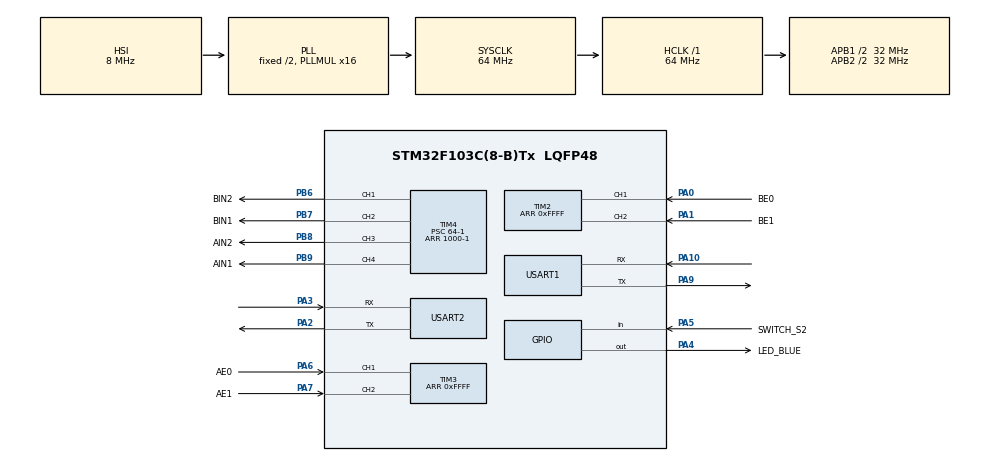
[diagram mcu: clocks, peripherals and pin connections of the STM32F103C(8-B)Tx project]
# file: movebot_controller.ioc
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Dma.Request0=USART2_RX
Dma.Request1=USART2_TX
Dma.USART2_RX.0.Direction=DMA_PERIPH_TO_MEMORY
Dma.USART2_RX.0.Instance=DMA1_Channel6
Dma.USART2_RX.0.MemDataAlignment=DMA_MDATAALIGN_BYTE
Dma.USART2_RX.0.MemInc=DMA_MINC_ENABLE
Dma.USART2_RX.0.Mode=DMA_NORMAL
Dma.USART2_RX.0.PeriphDataAlignment=DMA_PDATAALIGN_BYTE
Dma.USART2_RX.0.PeriphInc=DMA_PINC_DISABLE
Dma.USART2_RX.0.Priority=DMA_PRIORITY_LOW
Dma.USART2_TX.1.Direction=DMA_MEMORY_TO_PERIPH
Dma.USART2_TX.1.Instance=DMA1_Channel7
Dma.USART2_TX.1.MemDataAlignment=DMA_MDATAALIGN_BYTE
Dma.USART2_TX.1.MemInc=DMA_MINC_ENABLE
Dma.USART2_TX.1.Mode=DMA_NORMAL
Dma.USART2_TX.1.PeriphDataAlignment=DMA_PDATAALIGN_BYTE
Dma.USART2_TX.1.PeriphInc=DMA_PINC_DISABLE
Dma.USART2_TX.1.Priority=DMA_PRIORITY_LOW
FREERTOS.Tasks01=defaultTask,24,128,StartDefaultTask,Default,NULL,Dynamic,NULL,NULL
FREERTOS.configTOTAL_HEAP_SIZE=5120
Mcu.Family=STM32F1
Mcu.Name=STM32F103C(8-B)Tx
Mcu.Package=LQFP48
NVIC.DMA1_Channel6_IRQn=true\:5\:0\:false\:false\:true\:true\:false\:true
NVIC.DMA1_Channel7_IRQn=true\:5\:0\:false\:false\:true\:true\:false\:true
NVIC.PriorityGroup=NVIC_PRIORITYGROUP_4
NVIC.TIM1_UP_IRQn=true\:0\:0\:false\:false\:true\:false\:false\:true
NVIC.TimeBase=TIM1_UP_IRQn
NVIC.TimeBaseIP=TIM1
NVIC.USART2_IRQn=true\:5\:0\:false\:false\:true\:true\:true\:true
PA0-WKUP.GPIO_Label=BE0
PA0-WKUP.Signal=S_TIM2_CH1_ETR
PA1.GPIO_Label=BE1
PA1.Signal=S_TIM2_CH2
PA10.Mode=Asynchronous
PA10.Signal=USART1_RX
PA11.GPIO_Label=SERVO
PA11.Signal=S_TIM1_CH4
PA13.Mode=Serial_Wire
PA13.Signal=SYS_JTMS-SWDIO
PA14.Mode=Serial_Wire
PA14.Signal=SYS_JTCK-SWCLK
PA2.Mode=Asynchronous
PA2.Signal=USART2_TX
PA3.Mode=Asynchronous
PA3.Signal=USART2_RX
PA4.GPIO_Label=LED_BLUE
PA4.Signal=GPIO_Output
PA5.GPIO_Label=SWITCH_S2
PA5.GPIO_PuPd=GPIO_PULLUP
PA5.Signal=GPIO_Input
PA6.GPIO_Label=AE0
PA6.Signal=S_TIM3_CH1
PA7.GPIO_Label=AE1
PA7.Signal=S_TIM3_CH2
PA9.Mode=Asynchronous
PA9.Signal=USART1_TX
PB6.GPIO_Label=BIN2
PB6.Signal=S_TIM4_CH1
PB7.GPIO_Label=BIN1
PB7.Signal=S_TIM4_CH2
PB8.GPIO_Label=AIN2
PB8.Signal=S_TIM4_CH3
PB9.GPIO_Label=AIN1
PB9.Signal=S_TIM4_CH4
ProjectManager.HeapSize=0x200
ProjectManager.StackSize=0x400
ProjectManager.TargetToolchain=STM32CubeIDE
RCC.AHBFreq_Value=64000000
RCC.APB1CLKDivider=RCC_HCLK_DIV2
RCC.APB1Freq_Value=32000000
RCC.APB1TimFreq_Value=64000000
RCC.APB2CLKDivider=RCC_HCLK_DIV2
RCC.APB2Freq_Value=32000000
RCC.APB2TimFreq_Value=64000000
RCC.HCLKFreq_Value=64000000
RCC.PLLMUL=RCC_PLL_MUL16
RCC.SYSCLKFreq_VALUE=64000000
RCC.SYSCLKSource=RCC_SYSCLKSOURCE_PLLCLK
RCC.USBFreq_Value=64000000
SH.S_TIM1_CH4.0=TIM1_CH4
SH.S_TIM2_CH1_ETR.0=TIM2_CH1,Encoder_Interface
SH.S_TIM2_CH2.0=TIM2_CH2,Encoder_Interface
SH.S_TIM3_CH1.0=TIM3_CH1,Encoder_Interface
SH.S_TIM3_CH2.0=TIM3_CH2,Encoder_Interface
SH.S_TIM4_CH1.0=TIM4_CH1,PWM Generation1 CH1
SH.S_TIM4_CH2.0=TIM4_CH2,PWM Generation2 CH2
SH.S_TIM4_CH3.0=TIM4_CH3,PWM Generation3 CH3
SH.S_TIM4_CH4.0=TIM4_CH4,PWM Generation4 CH4
TIM2.EncoderMode=TIM_ENCODERMODE_TI1
TIM2.Period=0xFFFF
TIM3.EncoderMode=TIM_ENCODERMODE_TI1
TIM3.IC1Polarity=TIM_ICPOLARITY_FALLING
TIM3.IC2Polarity=TIM_ICPOLARITY_RISING
TIM3.Period=0xFFFF
TIM4.AutoReloadPreload=TIM_AUTORELOAD_PRELOAD_DISABLE
TIM4.Channel-PWM\ Generation1\ CH1=TIM_CHANNEL_1
TIM4.Channel-PWM\ Generation2\ CH2=TIM_CHANNEL_2
TIM4.Channel-PWM\ Generation3\ CH3=TIM_CHANNEL_3
TIM4.Channel-PWM\ Generation4\ CH4=TIM_CHANNEL_4
TIM4.Period=1000-1
TIM4.Prescaler=64-1
TIM4.Pulse-PWM\ Generation1\ CH1=500
TIM4.Pulse-PWM\ Generation2\ CH2=500
TIM4.Pulse-PWM\ Generation3\ CH3=500
TIM4.Pulse-PWM\ Generation4\ CH4=500
USART1.VirtualMode=VM_ASYNC
USART2.VirtualMode=VM_ASYNC
VP_FREERTOS_VS_CMSIS_V2.Mode=CMSIS_V2
VP_SYS_VS_tim1.Mode=TIM1
board=custom

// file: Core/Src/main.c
/* USER CODE BEGIN Header */
/**
  ******************************************************************************
  * @file           : main.c
  * @brief          : Main program body
  ******************************************************************************
  * @attention
  *
  * <h2><center>&copy; Copyright (c) 2020 STMicroelectronics.
  * All rights reserved.</center></h2>
  *
  * This software component is licensed by ST under BSD 3-Clause license,
  * the "License"; You may not use this file except in compliance with the
  * License. You may obtain a copy of the License at:
  *                        opensource.org/licenses/BSD-3-Clause
  *
  ******************************************************************************
  */
/* USER CODE END Header */
#include "main.h"
#include "cmsis_os.h"

/* USER CODE BEGIN Includes */
#include "key.h"
#include "movebot_controller_node.h"
#include "odometry.h"
#include "pid_task.h"
/* USER CODE END Includes */

TIM_HandleTypeDef htim2;
TIM_HandleTypeDef htim3;
TIM_HandleTypeDef htim4;

UART_HandleTypeDef huart1;
UART_HandleTypeDef huart2;
DMA_HandleTypeDef hdma_usart2_rx;
DMA_HandleTypeDef hdma_usart2_tx;

/* Definitions for defaultTask */
osThreadId_t defaultTaskHandle;
const osThreadAttr_t defaultTask_attributes = {
  .name = "defaultTask",
  .priority = (osPriority_t) osPriorityNormal,
  .stack_size = 128 * 4
};
/* USER CODE BEGIN PV */
osThreadId_t keyTaskHandle;
const osThreadAttr_t keyTask_attributes = {
  .name = "keyTask",
  .priority = (osPriority_t) osPriorityNormal,
  .stack_size = 128 * 4
};

osThreadId_t odometryTaskHandle;
const osThreadAttr_t odometryTask_attributes = {
  .name = "odometryTask",
  .priority = (osPriority_t) osPriorityNormal,
  .stack_size = 128 * 8
};

osThreadId_t pidTaskHandle;
const osThreadAttr_t pidTask_attributes = {
  .name = "pidTask",
  .priority = (osPriority_t) osPriorityNormal,
  .stack_size = 128 * 8
};

osThreadId_t controllerNodeTaskHandle;
const osThreadAttr_t controllerNodeTask_attributes = {
  .name = "controllerNode",
  .priority = (osPriority_t) osPriorityNormal,
  .stack_size = 128 * 8
};
/* USER CODE END PV */

void SystemClock_Config(void);
static void MX_GPIO_Init(void);
static void MX_DMA_Init(void);
static void MX_USART1_UART_Init(void);
static void MX_USART2_UART_Init(void);
static void MX_TIM4_Init(void);
static void MX_TIM2_Init(void);
static void MX_TIM3_Init(void);
void StartDefaultTask(void *argument);

int main(void)
{

  /* MCU Configuration--------------------------------------------------------*/

  /* Reset of all peripherals, Initializes the Flash interface and the Systick. */
  HAL_Init();

  /* Configure the system clock */
  SystemClock_Config();

  /* Initialize all configured peripherals */
  MX_GPIO_Init();
  MX_DMA_Init();
  MX_USART1_UART_Init();
  MX_USART2_UART_Init();
  MX_TIM4_Init();
  MX_TIM2_Init();
  MX_TIM3_Init();
  /* USER CODE BEGIN 2 */
//  HAL_TIM_PWM_Start(&htim4, TIM_CHANNEL_2);
  PidInit();
  /* USER CODE END 2 */

  /* Init scheduler */
  osKernelInitialize();

  /* Create the thread(s) */
  /* creation of defaultTask */
  defaultTaskHandle = osThreadNew(StartDefaultTask, NULL, &defaultTask_attributes);

  /* USER CODE BEGIN RTOS_THREADS */
  /* add threads, ... */
  keyTaskHandle = osThreadNew(KeyTask, NULL, &keyTask_attributes);
  odometryTaskHandle = osThreadNew(OdometryTask, NULL, &odometryTask_attributes);
  pidTaskHandle = osThreadNew(PidTask, NULL, &pidTask_attributes);
  controllerNodeTaskHandle = osThreadNew(MoveBotControllerNodeTask, NULL, &controllerNodeTask_attributes);
  /* USER CODE END RTOS_THREADS */

  /* Start scheduler */
  osKernelStart();

  /* We should never get here as control is now taken by the scheduler */
  /* Infinite loop */
  while (1)
  {

  }
}

void SystemClock_Config(void)
{
  RCC_OscInitTypeDef RCC_OscInitStruct = {0};
  RCC_ClkInitTypeDef RCC_ClkInitStruct = {0};

  /** Initializes the RCC Oscillators according to the specified parameters
  * in the RCC_OscInitTypeDef structure.
  */
  RCC_OscInitStruct.OscillatorType = RCC_OSCILLATORTYPE_HSI;
  RCC_OscInitStruct.HSIState = RCC_HSI_ON;
  RCC_OscInitStruct.HSICalibrationValue = RCC_HSICALIBRATION_DEFAULT;
  RCC_OscInitStruct.PLL.PLLState = RCC_PLL_ON;
  RCC_OscInitStruct.PLL.PLLSource = RCC_PLLSOURCE_HSI_DIV2;
  RCC_OscInitStruct.PLL.PLLMUL = RCC_PLL_MUL16;
  if (HAL_RCC_OscConfig(&RCC_OscInitStruct) != HAL_OK)
  {
    Error_Handler();
  }
  /** Initializes the CPU, AHB and APB buses clocks
  */
  RCC_ClkInitStruct.ClockType = RCC_CLOCKTYPE_HCLK|RCC_CLOCKTYPE_SYSCLK
                              |RCC_CLOCKTYPE_PCLK1|RCC_CLOCKTYPE_PCLK2;
  RCC_ClkInitStruct.SYSCLKSource = RCC_SYSCLKSOURCE_PLLCLK;
  RCC_ClkInitStruct.AHBCLKDivider = RCC_SYSCLK_DIV1;
  RCC_ClkInitStruct.APB1CLKDivider = RCC_HCLK_DIV2;
  RCC_ClkInitStruct.APB2CLKDivider = RCC_HCLK_DIV2;

  if (HAL_RCC_ClockConfig(&RCC_ClkInitStruct, FLASH_LATENCY_2) != HAL_OK)
  {
    Error_Handler();
  }
}

static void MX_TIM2_Init(void)
{

  TIM_Encoder_InitTypeDef sConfig = {0};
  TIM_MasterConfigTypeDef sMasterConfig = {0};

  htim2.Instance = TIM2;
  htim2.Init.Prescaler = 0;
  htim2.Init.CounterMode = TIM_COUNTERMODE_UP;
  htim2.Init.Period = 0xFFFF;
  htim2.Init.ClockDivision = TIM_CLOCKDIVISION_DIV1;
  htim2.Init.AutoReloadPreload = TIM_AUTORELOAD_PRELOAD_DISABLE;
  sConfig.EncoderMode = TIM_ENCODERMODE_TI1;
  sConfig.IC1Polarity = TIM_ICPOLARITY_RISING;
  sConfig.IC1Selection = TIM_ICSELECTION_DIRECTTI;
  sConfig.IC1Prescaler = TIM_ICPSC_DIV1;
  sConfig.IC1Filter = 0;
  sConfig.IC2Polarity = TIM_ICPOLARITY_RISING;
  sConfig.IC2Selection = TIM_ICSELECTION_DIRECTTI;
  sConfig.IC2Prescaler = TIM_ICPSC_DIV1;
  sConfig.IC2Filter = 0;
  if (HAL_TIM_Encoder_Init(&htim2, &sConfig) != HAL_OK)
  {
    Error_Handler();
  }
  sMasterConfig.MasterOutputTrigger = TIM_TRGO_RESET;
  sMasterConfig.MasterSlaveMode = TIM_MASTERSLAVEMODE_DISABLE;
  if (HAL_TIMEx_MasterConfigSynchronization(&htim2, &sMasterConfig) != HAL_OK)
  {
    Error_Handler();
  }

}

static void MX_TIM3_Init(void)
{

  TIM_Encoder_InitTypeDef sConfig = {0};
  TIM_MasterConfigTypeDef sMasterConfig = {0};

  htim3.Instance = TIM3;
  htim3.Init.Prescaler = 0;
  htim3.Init.CounterMode = TIM_COUNTERMODE_UP;
  htim3.Init.Period = 0xFFFF;
  htim3.Init.ClockDivision = TIM_CLOCKDIVISION_DIV1;
  htim3.Init.AutoReloadPreload = TIM_AUTORELOAD_PRELOAD_DISABLE;
  sConfig.EncoderMode = TIM_ENCODERMODE_TI1;
  sConfig.IC1Polarity = TIM_ICPOLARITY_FALLING;
  sConfig.IC1Selection = TIM_ICSELECTION_DIRECTTI;
  sConfig.IC1Prescaler = TIM_ICPSC_DIV1;
  sConfig.IC1Filter = 0;
  sConfig.IC2Polarity = TIM_ICPOLARITY_RISING;
  sConfig.IC2Selection = TIM_ICSELECTION_DIRECTTI;
  sConfig.IC2Prescaler = TIM_ICPSC_DIV1;
  sConfig.IC2Filter = 0;
  if (HAL_TIM_Encoder_Init(&htim3, &sConfig) != HAL_OK)
  {
    Error_Handler();
  }
  sMasterConfig.MasterOutputTrigger = TIM_TRGO_RESET;
  sMasterConfig.MasterSlaveMode = TIM_MASTERSLAVEMODE_DISABLE;
  if (HAL_TIMEx_MasterConfigSynchronization(&htim3, &sMasterConfig) != HAL_OK)
  {
    Error_Handler();
  }

}

static void MX_TIM4_Init(void)
{

  TIM_MasterConfigTypeDef sMasterConfig = {0};
  TIM_OC_InitTypeDef sConfigOC = {0};

  htim4.Instance = TIM4;
  htim4.Init.Prescaler = 64-1;
  htim4.Init.CounterMode = TIM_COUNTERMODE_UP;
  htim4.Init.Period = 1000-1;
  htim4.Init.ClockDivision = TIM_CLOCKDIVISION_DIV1;
  htim4.Init.AutoReloadPreload = TIM_AUTORELOAD_PRELOAD_DISABLE;
  if (HAL_TIM_PWM_Init(&htim4) != HAL_OK)
  {
    Error_Handler();
  }
  sMasterConfig.MasterOutputTrigger = TIM_TRGO_RESET;
  sMasterConfig.MasterSlaveMode = TIM_MASTERSLAVEMODE_DISABLE;
  if (HAL_TIMEx_MasterConfigSynchronization(&htim4, &sMasterConfig) != HAL_OK)
  {
    Error_Handler();
  }
  sConfigOC.OCMode = TIM_OCMODE_PWM1;
  sConfigOC.Pulse = 500;
  sConfigOC.OCPolarity = TIM_OCPOLARITY_HIGH;
  sConfigOC.OCFastMode = TIM_OCFAST_DISABLE;
  if (HAL_TIM_PWM_ConfigChannel(&htim4, &sConfigOC, TIM_CHANNEL_1) != HAL_OK)
  {
    Error_Handler();
  }
  if (HAL_TIM_PWM_ConfigChannel(&htim4, &sConfigOC, TIM_CHANNEL_2) != HAL_OK)
  {
    Error_Handler();
  }
  if (HAL_TIM_PWM_ConfigChannel(&htim4, &sConfigOC, TIM_CHANNEL_3) != HAL_OK)
  {
    Error_Handler();
  }
  if (HAL_TIM_PWM_ConfigChannel(&htim4, &sConfigOC, TIM_CHANNEL_4) != HAL_OK)
  {
    Error_Handler();
  }
  HAL_TIM_MspPostInit(&htim4);

}

static void MX_USART1_UART_Init(void)
{

  huart1.Instance = USART1;
  huart1.Init.BaudRate = 115200;
  huart1.Init.WordLength = UART_WORDLENGTH_8B;
  huart1.Init.StopBits = UART_STOPBITS_1;
  huart1.Init.Parity = UART_PARITY_NONE;
  huart1.Init.Mode = UART_MODE_TX_RX;
  huart1.Init.HwFlowCtl = UART_HWCONTROL_NONE;
  huart1.Init.OverSampling = UART_OVERSAMPLING_16;
  if (HAL_UART_Init(&huart1) != HAL_OK)
  {
    Error_Handler();
  }

}

static void MX_USART2_UART_Init(void)
{

  huart2.Instance = USART2;
  huart2.Init.BaudRate = 115200;
  huart2.Init.WordLength = UART_WORDLENGTH_8B;
  huart2.Init.StopBits = UART_STOPBITS_1;
  huart2.Init.Parity = UART_PARITY_NONE;
  huart2.Init.Mode = UART_MODE_TX_RX;
  huart2.Init.HwFlowCtl = UART_HWCONTROL_NONE;
  huart2.Init.OverSampling = UART_OVERSAMPLING_16;
  if (HAL_UART_Init(&huart2) != HAL_OK)
  {
    Error_Handler();
  }

}

static void MX_DMA_Init(void)
{

  /* DMA controller clock enable */
  __HAL_RCC_DMA1_CLK_ENABLE();

  /* DMA interrupt init */
  /* DMA1_Channel6_IRQn interrupt configuration */
  HAL_NVIC_SetPriority(DMA1_Channel6_IRQn, 5, 0);
  HAL_NVIC_EnableIRQ(DMA1_Channel6_IRQn);
  /* DMA1_Channel7_IRQn interrupt configuration */
  HAL_NVIC_SetPriority(DMA1_Channel7_IRQn, 5, 0);
  HAL_NVIC_EnableIRQ(DMA1_Channel7_IRQn);

}

static void MX_GPIO_Init(void)
{
  GPIO_InitTypeDef GPIO_InitStruct = {0};

  /* GPIO Ports Clock Enable */
  __HAL_RCC_GPIOA_CLK_ENABLE();
  __HAL_RCC_GPIOB_CLK_ENABLE();

  /*Configure GPIO pin Output Level */
  HAL_GPIO_WritePin(LED_BLUE_GPIO_Port, LED_BLUE_Pin, GPIO_PIN_RESET);

  /*Configure GPIO pin : LED_BLUE_Pin */
  GPIO_InitStruct.Pin = LED_BLUE_Pin;
  GPIO_InitStruct.Mode = GPIO_MODE_OUTPUT_PP;
  GPIO_InitStruct.Pull = GPIO_NOPULL;
  GPIO_InitStruct.Speed = GPIO_SPEED_FREQ_LOW;
  HAL_GPIO_Init(LED_BLUE_GPIO_Port, &GPIO_InitStruct);

  /*Configure GPIO pin : SWITCH_S2_Pin */
  GPIO_InitStruct.Pin = SWITCH_S2_Pin;
  GPIO_InitStruct.Mode = GPIO_MODE_INPUT;
  GPIO_InitStruct.Pull = GPIO_PULLUP;
  HAL_GPIO_Init(SWITCH_S2_GPIO_Port, &GPIO_InitStruct);

  /*Configure GPIO pin : SERVO_Pin */
  GPIO_InitStruct.Pin = SERVO_Pin;
  GPIO_InitStruct.Mode = GPIO_MODE_AF_PP;
  GPIO_InitStruct.Speed = GPIO_SPEED_FREQ_LOW;
  HAL_GPIO_Init(SERVO_GPIO_Port, &GPIO_InitStruct);

}

void StartDefaultTask(void *argument)
{
  /* USER CODE BEGIN 5 */
  /* Infinite loop */
  for(;;)
  {
	HAL_GPIO_WritePin(LED_BLUE_GPIO_Port, LED_BLUE_Pin, GPIO_PIN_RESET);
    osDelay(20);
    HAL_GPIO_WritePin(LED_BLUE_GPIO_Port, LED_BLUE_Pin, GPIO_PIN_SET);
    osDelay(2*1000);
  }
  /* USER CODE END 5 */
}

 /**
  * @brief  Period elapsed callback in non blocking mode
  * @note   This function is called  when TIM1 interrupt took place, inside
  * HAL_TIM_IRQHandler(). It makes a direct call to HAL_IncTick() to increment
  * a global variable "uwTick" used as application time base.
  * @param  htim : TIM handle
  * @retval None
  */
void HAL_TIM_PeriodElapsedCallback(TIM_HandleTypeDef *htim)
{
  if (htim->Instance == TIM1) {
    HAL_IncTick();
  }
}

void Error_Handler(void)
{
  __disable_irq();
  while (1)
  {
  }
}

/************************ (C) COPYRIGHT STMicroelectronics *****END OF FILE****/
